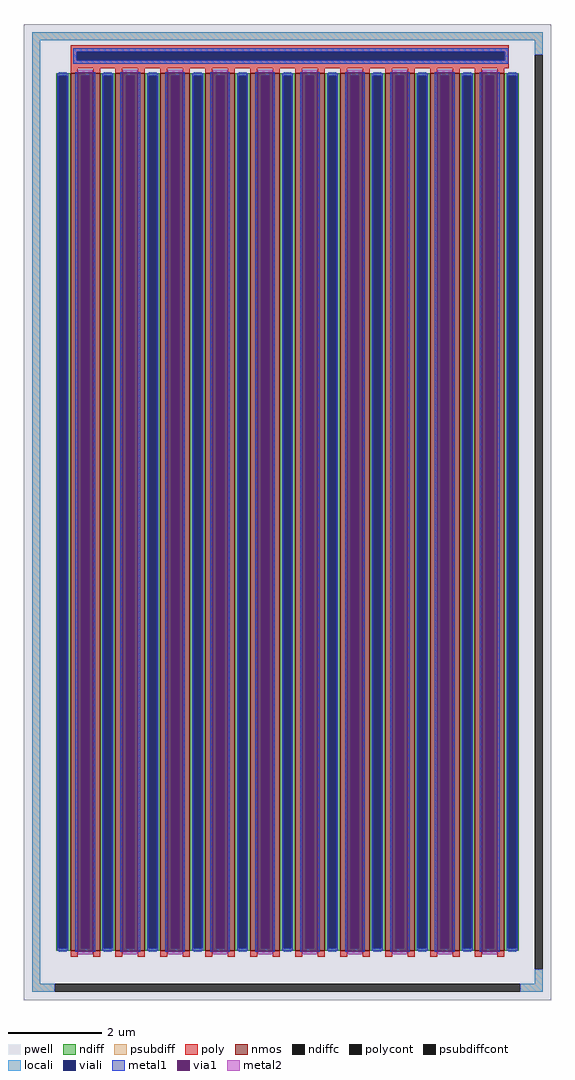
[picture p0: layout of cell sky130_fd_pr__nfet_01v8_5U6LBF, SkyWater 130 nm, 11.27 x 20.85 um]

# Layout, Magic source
magic
tech sky130A
magscale 1 2
<< pwell >>
rect -1127 -2085 1127 2085
<< nmos >>
rect -927 -1875 -897 1875
rect -831 -1875 -801 1875
rect -735 -1875 -705 1875
rect -639 -1875 -609 1875
rect -543 -1875 -513 1875
rect -447 -1875 -417 1875
rect -351 -1875 -321 1875
rect -255 -1875 -225 1875
rect -159 -1875 -129 1875
rect -63 -1875 -33 1875
rect 33 -1875 63 1875
rect 129 -1875 159 1875
rect 225 -1875 255 1875
rect 321 -1875 351 1875
rect 417 -1875 447 1875
rect 513 -1875 543 1875
rect 609 -1875 639 1875
rect 705 -1875 735 1875
rect 801 -1875 831 1875
rect 897 -1875 927 1875
<< ndiff >>
rect -989 1863 -927 1875
rect -989 -1863 -977 1863
rect -943 -1863 -927 1863
rect -989 -1875 -927 -1863
rect -897 1863 -831 1875
rect -897 -1863 -881 1863
rect -847 -1863 -831 1863
rect -897 -1875 -831 -1863
rect -801 1863 -735 1875
rect -801 -1863 -785 1863
rect -751 -1863 -735 1863
rect -801 -1875 -735 -1863
rect -705 1863 -639 1875
rect -705 -1863 -689 1863
rect -655 -1863 -639 1863
rect -705 -1875 -639 -1863
rect -609 1863 -543 1875
rect -609 -1863 -593 1863
rect -559 -1863 -543 1863
rect -609 -1875 -543 -1863
rect -513 1863 -447 1875
rect -513 -1863 -497 1863
rect -463 -1863 -447 1863
rect -513 -1875 -447 -1863
rect -417 1863 -351 1875
rect -417 -1863 -401 1863
rect -367 -1863 -351 1863
rect -417 -1875 -351 -1863
rect -321 1863 -255 1875
rect -321 -1863 -305 1863
rect -271 -1863 -255 1863
rect -321 -1875 -255 -1863
rect -225 1863 -159 1875
rect -225 -1863 -209 1863
rect -175 -1863 -159 1863
rect -225 -1875 -159 -1863
rect -129 1863 -63 1875
rect -129 -1863 -113 1863
rect -79 -1863 -63 1863
rect -129 -1875 -63 -1863
rect -33 1863 33 1875
rect -33 -1863 -17 1863
rect 17 -1863 33 1863
rect -33 -1875 33 -1863
rect 63 1863 129 1875
rect 63 -1863 79 1863
rect 113 -1863 129 1863
rect 63 -1875 129 -1863
rect 159 1863 225 1875
rect 159 -1863 175 1863
rect 209 -1863 225 1863
rect 159 -1875 225 -1863
rect 255 1863 321 1875
rect 255 -1863 271 1863
rect 305 -1863 321 1863
rect 255 -1875 321 -1863
rect 351 1863 417 1875
rect 351 -1863 367 1863
rect 401 -1863 417 1863
rect 351 -1875 417 -1863
rect 447 1863 513 1875
rect 447 -1863 463 1863
rect 497 -1863 513 1863
rect 447 -1875 513 -1863
rect 543 1863 609 1875
rect 543 -1863 559 1863
rect 593 -1863 609 1863
rect 543 -1875 609 -1863
rect 639 1863 705 1875
rect 639 -1863 655 1863
rect 689 -1863 705 1863
rect 639 -1875 705 -1863
rect 735 1863 801 1875
rect 735 -1863 751 1863
rect 785 -1863 801 1863
rect 735 -1875 801 -1863
rect 831 1863 897 1875
rect 831 -1863 847 1863
rect 881 -1863 897 1863
rect 831 -1875 897 -1863
rect 927 1863 989 1875
rect 927 -1863 943 1863
rect 977 -1863 989 1863
rect 927 -1875 989 -1863
<< ndiffc >>
rect -977 -1863 -943 1863
rect -881 -1863 -847 1863
rect -785 -1863 -751 1863
rect -689 -1863 -655 1863
rect -593 -1863 -559 1863
rect -497 -1863 -463 1863
rect -401 -1863 -367 1863
rect -305 -1863 -271 1863
rect -209 -1863 -175 1863
rect -113 -1863 -79 1863
rect -17 -1863 17 1863
rect 79 -1863 113 1863
rect 175 -1863 209 1863
rect 271 -1863 305 1863
rect 367 -1863 401 1863
rect 463 -1863 497 1863
rect 559 -1863 593 1863
rect 655 -1863 689 1863
rect 751 -1863 785 1863
rect 847 -1863 881 1863
rect 943 -1863 977 1863
<< psubdiff >>
rect -1091 2015 1091 2049
rect -1091 -2015 -1057 2015
rect 1057 1953 1091 2015
rect 1057 -2015 1091 -1953
rect -1091 -2049 -995 -2015
rect 995 -2049 1091 -2015
<< psubdiffcont >>
rect 1057 -1953 1091 1953
rect -995 -2049 995 -2015
<< poly >>
rect -927 1965 945 1994
rect -927 1931 -900 1965
rect 928 1931 945 1965
rect -927 1897 945 1931
rect -927 1875 -897 1897
rect -831 1875 -801 1897
rect -735 1875 -705 1897
rect -639 1875 -609 1897
rect -543 1875 -513 1897
rect -447 1875 -417 1897
rect -351 1875 -321 1897
rect -255 1875 -225 1897
rect -159 1875 -129 1897
rect -63 1875 -33 1897
rect 33 1875 63 1897
rect 129 1875 159 1897
rect 225 1875 255 1897
rect 321 1875 351 1897
rect 417 1875 447 1897
rect 513 1875 543 1897
rect 609 1875 639 1897
rect 705 1875 735 1897
rect 801 1875 831 1897
rect 897 1875 927 1897
rect -927 -1901 -897 -1875
rect -831 -1901 -801 -1875
rect -735 -1901 -705 -1875
rect -639 -1901 -609 -1875
rect -543 -1901 -513 -1875
rect -447 -1901 -417 -1875
rect -351 -1901 -321 -1875
rect -255 -1901 -225 -1875
rect -159 -1901 -129 -1875
rect -63 -1901 -33 -1875
rect 33 -1901 63 -1875
rect 129 -1901 159 -1875
rect 225 -1901 255 -1875
rect 321 -1901 351 -1875
rect 417 -1901 447 -1875
rect 513 -1901 543 -1875
rect 609 -1901 639 -1875
rect 705 -1901 735 -1875
rect 801 -1901 831 -1875
rect 897 -1901 927 -1875
<< polycont >>
rect -900 1931 928 1965
<< locali >>
rect -1091 2015 1091 2049
rect -1091 -2015 -1057 2015
rect -916 1967 944 1981
rect -916 1931 -900 1967
rect 928 1931 944 1967
rect -916 1915 944 1931
rect 1057 1953 1091 2015
rect -977 1863 -943 1879
rect -977 -1879 -943 -1863
rect -881 1863 -847 1879
rect -881 -1879 -847 -1863
rect -785 1863 -751 1879
rect -785 -1879 -751 -1863
rect -689 1863 -655 1879
rect -689 -1879 -655 -1863
rect -593 1863 -559 1879
rect -593 -1879 -559 -1863
rect -497 1863 -463 1879
rect -497 -1879 -463 -1863
rect -401 1863 -367 1879
rect -401 -1879 -367 -1863
rect -305 1863 -271 1879
rect -305 -1879 -271 -1863
rect -209 1863 -175 1879
rect -209 -1879 -175 -1863
rect -113 1863 -79 1879
rect -113 -1879 -79 -1863
rect -17 1863 17 1879
rect -17 -1879 17 -1863
rect 79 1863 113 1879
rect 79 -1879 113 -1863
rect 175 1863 209 1879
rect 175 -1879 209 -1863
rect 271 1863 305 1879
rect 271 -1879 305 -1863
rect 367 1863 401 1879
rect 367 -1879 401 -1863
rect 463 1863 497 1879
rect 463 -1879 497 -1863
rect 559 1863 593 1879
rect 559 -1879 593 -1863
rect 655 1863 689 1879
rect 655 -1879 689 -1863
rect 751 1863 785 1879
rect 751 -1879 785 -1863
rect 847 1863 881 1879
rect 847 -1879 881 -1863
rect 943 1863 977 1879
rect 943 -1879 977 -1863
rect 1057 -2015 1091 -1953
rect -1091 -2049 -995 -2015
rect 995 -2049 1091 -2015
<< viali >>
rect -900 1965 928 1967
rect -900 1931 928 1965
rect -977 -1863 -943 1863
rect -881 -1863 -847 1863
rect -785 -1863 -751 1863
rect -689 -1863 -655 1863
rect -593 -1863 -559 1863
rect -497 -1863 -463 1863
rect -401 -1863 -367 1863
rect -305 -1863 -271 1863
rect -209 -1863 -175 1863
rect -113 -1863 -79 1863
rect -17 -1863 17 1863
rect 79 -1863 113 1863
rect 175 -1863 209 1863
rect 271 -1863 305 1863
rect 367 -1863 401 1863
rect 463 -1863 497 1863
rect 559 -1863 593 1863
rect 655 -1863 689 1863
rect 751 -1863 785 1863
rect 847 -1863 881 1863
rect 943 -1863 977 1863
<< metal1 >>
rect -916 1967 944 1981
rect -916 1931 -900 1967
rect 928 1931 944 1967
rect -916 1915 944 1931
rect -983 1863 -937 1875
rect -983 -1863 -977 1863
rect -943 -1863 -937 1863
rect -983 -1875 -937 -1863
rect -906 -1879 -896 1879
rect -832 -1879 -822 1879
rect -791 1863 -745 1875
rect -791 -1863 -785 1863
rect -751 -1863 -745 1863
rect -791 -1875 -745 -1863
rect -714 -1879 -704 1879
rect -640 -1879 -630 1879
rect -599 1863 -553 1875
rect -599 -1863 -593 1863
rect -559 -1863 -553 1863
rect -599 -1875 -553 -1863
rect -522 -1879 -512 1879
rect -448 -1879 -438 1879
rect -407 1863 -361 1875
rect -407 -1863 -401 1863
rect -367 -1863 -361 1863
rect -407 -1875 -361 -1863
rect -330 -1879 -320 1879
rect -256 -1879 -246 1879
rect -215 1863 -169 1875
rect -215 -1863 -209 1863
rect -175 -1863 -169 1863
rect -215 -1875 -169 -1863
rect -138 -1879 -128 1879
rect -64 -1879 -54 1879
rect -23 1863 23 1875
rect -23 -1863 -17 1863
rect 17 -1863 23 1863
rect -23 -1875 23 -1863
rect 54 -1879 64 1879
rect 128 -1879 138 1879
rect 169 1863 215 1875
rect 169 -1863 175 1863
rect 209 -1863 215 1863
rect 169 -1875 215 -1863
rect 246 -1879 256 1879
rect 320 -1879 330 1879
rect 361 1863 407 1875
rect 361 -1863 367 1863
rect 401 -1863 407 1863
rect 361 -1875 407 -1863
rect 438 -1879 448 1879
rect 512 -1879 522 1879
rect 553 1863 599 1875
rect 553 -1863 559 1863
rect 593 -1863 599 1863
rect 553 -1875 599 -1863
rect 630 -1879 640 1879
rect 704 -1879 714 1879
rect 745 1863 791 1875
rect 745 -1863 751 1863
rect 785 -1863 791 1863
rect 745 -1875 791 -1863
rect 822 -1879 832 1879
rect 896 -1879 906 1879
rect 937 1863 983 1875
rect 937 -1863 943 1863
rect 977 -1863 983 1863
rect 937 -1875 983 -1863
<< via1 >>
rect -896 1863 -832 1879
rect -896 -1863 -881 1863
rect -881 -1863 -847 1863
rect -847 -1863 -832 1863
rect -896 -1879 -832 -1863
rect -704 1863 -640 1879
rect -704 -1863 -689 1863
rect -689 -1863 -655 1863
rect -655 -1863 -640 1863
rect -704 -1879 -640 -1863
rect -512 1863 -448 1879
rect -512 -1863 -497 1863
rect -497 -1863 -463 1863
rect -463 -1863 -448 1863
rect -512 -1879 -448 -1863
rect -320 1863 -256 1879
rect -320 -1863 -305 1863
rect -305 -1863 -271 1863
rect -271 -1863 -256 1863
rect -320 -1879 -256 -1863
rect -128 1863 -64 1879
rect -128 -1863 -113 1863
rect -113 -1863 -79 1863
rect -79 -1863 -64 1863
rect -128 -1879 -64 -1863
rect 64 1863 128 1879
rect 64 -1863 79 1863
rect 79 -1863 113 1863
rect 113 -1863 128 1863
rect 64 -1879 128 -1863
rect 256 1863 320 1879
rect 256 -1863 271 1863
rect 271 -1863 305 1863
rect 305 -1863 320 1863
rect 256 -1879 320 -1863
rect 448 1863 512 1879
rect 448 -1863 463 1863
rect 463 -1863 497 1863
rect 497 -1863 512 1863
rect 448 -1879 512 -1863
rect 640 1863 704 1879
rect 640 -1863 655 1863
rect 655 -1863 689 1863
rect 689 -1863 704 1863
rect 640 -1879 704 -1863
rect 832 1863 896 1879
rect 832 -1863 847 1863
rect 847 -1863 881 1863
rect 881 -1863 896 1863
rect 832 -1879 896 -1863
<< metal2 >>
rect -896 1879 -832 1889
rect -896 -1889 -832 -1879
rect -704 1879 -640 1889
rect -704 -1889 -640 -1879
rect -512 1879 -448 1889
rect -512 -1889 -448 -1879
rect -320 1879 -256 1889
rect -320 -1889 -256 -1879
rect -128 1879 -64 1889
rect -128 -1889 -64 -1879
rect 64 1879 128 1889
rect 64 -1889 128 -1879
rect 256 1879 320 1889
rect 256 -1889 320 -1879
rect 448 1879 512 1889
rect 448 -1889 512 -1879
rect 640 1879 704 1889
rect 640 -1889 704 -1879
rect 832 1879 896 1889
rect 832 -1889 896 -1879
<< properties >>
string gencell sky130_fd_pr__nfet_01v8
string FIXED_BBOX -1074 -2032 1074 2032
string parameters w 18.75 l 0.150 m 1 nf 20 diffcov 100 polycov 100 guard 1 glc 0 grc 1 gtc 0 gbc 1 tbcov 100 rlcov 100 topc 1 botc 0 poverlap 0 doverlap 1 lmin 0.15 wmin 0.42 compatible {sky130_fd_pr__nfet_01v8 sky130_fd_pr__nfet_01v8_lvt  sky130_fd_bs_flash__special_sonosfet_star  sky130_fd_pr__nfet_g5v0d10v5 sky130_fd_pr__nfet_05v0_nvt  sky130_fd_pr__nfet_03v3_nvt} full_metal 1 viasrc 100 viadrn 100 viagate 100 viagb 0 viagr 0 viagl 0 viagt 0
string library sky130
<< end >>
